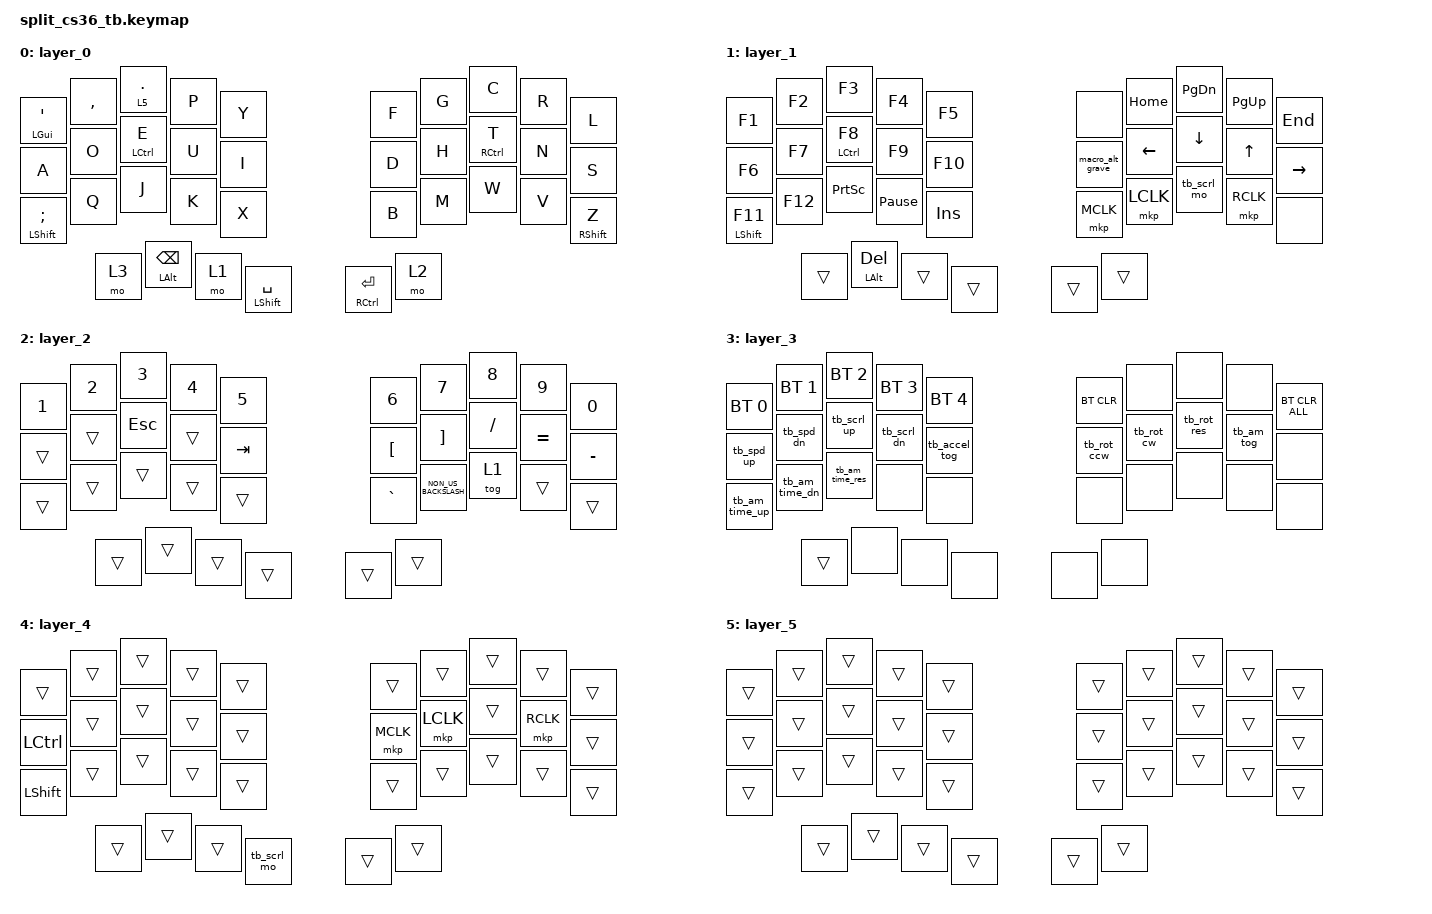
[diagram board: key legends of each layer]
#include <behaviors.dtsi>
#include <dt-bindings/zmk/bt.h>
#include <dt-bindings/zmk/keys.h>
#include <dt-bindings/zmk/pointing.h>
#include <dt-bindings/zmk/trackball.h>

#define TB_SPD_UP       1
#define TB_SPD_DN       2
#define TB_AM_TOG       3
#define TB_SCRL_TOG     4
#define TB_SCRL_MO      4
#define TB_SCRL_UP      5
#define TB_SCRL_DN      6
#define TB_ACCEL_TOG    7
#define TB_ROT_CW       8
#define TB_ROT_CCW      9
#define TB_ROT_RES      10
#define TB_AM_TIME_UP   11
#define TB_AM_TIME_DN   12
#define TB_AM_TIME_RES  13

/ {

    behaviors {
        tb: behavior_trackball {
            compatible = "zmk,behavior-trackball";
            #binding-cells = <1>;
            label = "TRACKBALL";
            bindings = <&none>;
        };

        // デフォルトのMod-Tap(&mt)の挙動を上書きし、QMK風の快適な設定に変更します

        mt: mod_tap {
            compatible = "zmk,behavior-hold-tap";
            #binding-cells = <2>;

            // --- ここからがカスタマイズ項目です ---
            // タップとホールドを認識する時間。200msに設定。

            tapping-term-ms = <200>;

            // 'tap-preferred'フレーバーを選択。
            // これにより、高速でキーを連続入力（ローリング）した際に、
            // ホールド（モディファイア）が誤爆するのを防ぎます。
            // QMKの`IGNORE_MOD_TAP_INTERRUPT`に近い挙動です。

            flavor = "tap-preferred";

            // (オプション) この時間内の素早い連続タップは、強制的にタップとして扱います。
            // これにより、スペースキーやエンターキーの連続タップがより確実になります。

            quick-tap-ms = <150>;

            // --- ここまでがカスタマイズ項目です ---

            bindings = <&kp>, <&kp>;
        };
    };

    combos {
        compatible = "zmk,combos";

        right_click {
            bindings = <&mkp RCLK>;
            key-positions = <12 11>;
        };

        left_click {
            bindings = <&mkp LCLK>;
            key-positions = <12 13>;
        };
    };

    macros {
        macro_alt_grave: macro_alt_grave {
            compatible = "zmk,behavior-macro";
            #binding-cells = <0>;
            bindings =
                <&macro_press>,
                <&kp LALT>,
                <&macro_tap>,
                <&kp GRAVE>,
                <&macro_release>,
                <&kp LALT>;

            label = "MACRO_ALT_GRAVE";
            wait-ms = <5>;
            tap-ms = <5>;
        };

        tb_scrl_mo: tb_scrl_mo {
            compatible = "zmk,behavior-macro";
            #binding-cells = <0>;
            bindings =
                <&macro_press &tb TB_SCRL_MO>,
                <&macro_pause_for_release>,
                <&macro_release &tb TB_SCRL_MO>;
            label = "TB_SCRL_MO";
        };

        tb_spd_up: tb_spd_up {
            compatible = "zmk,behavior-macro";
            #binding-cells = <0>;
            bindings = <&tb TB_SPD_UP>;
            label = "TB_SPD_UP";
        };

        tb_spd_dn: tb_spd_dn {
            compatible = "zmk,behavior-macro";
            #binding-cells = <0>;
            bindings = <&tb TB_SPD_DN>;
            label = "TB_SPD_DN";
        };

        tb_am_tog: tb_am_tog {
            compatible = "zmk,behavior-macro";
            #binding-cells = <0>;
            bindings = <&tb TB_AM_TOG>;
            label = "TB_AM_TOG";
        };

        tb_scrl_up: tb_scrl_up {
            compatible = "zmk,behavior-macro";
            #binding-cells = <0>;
            bindings = <&tb TB_SCRL_UP>;
            label = "TB_SCRL_UP";
        };

        tb_scrl_dn: tb_scrl_dn {
            compatible = "zmk,behavior-macro";
            #binding-cells = <0>;
            bindings = <&tb TB_SCRL_DN>;
            label = "TB_SCRL_DN";
        };

        tb_accel_tog: tb_accel_tog {
            compatible = "zmk,behavior-macro";
            #binding-cells = <0>;
            bindings = <&tb TB_ACCEL_TOG>;
            label = "TB_ACCEL_TOG";
        };

        tb_rot_cw: tb_rot_cw {
            compatible = "zmk,behavior-macro";
            #binding-cells = <0>;
            bindings = <&tb TB_ROT_CW>;
            label = "TB_ROT_CW";
        };

        tb_rot_ccw: tb_rot_ccw {
            compatible = "zmk,behavior-macro";
            #binding-cells = <0>;
            bindings = <&tb TB_ROT_CCW>;
            label = "TB_ROT_CCW";
        };

        tb_rot_res: tb_rot_res {
            compatible = "zmk,behavior-macro";
            #binding-cells = <0>;
            bindings = <&tb TB_ROT_RES>;
            label = "TB_ROT_RES";
        };

        tb_am_time_up: tb_am_time_up {
            compatible = "zmk,behavior-macro";
            #binding-cells = <0>;
            bindings = <&tb TB_AM_TIME_UP>;
            label = "TB_AM_TIME_UP";
        };

        tb_am_time_dn: tb_am_time_dn {
            compatible = "zmk,behavior-macro";
            #binding-cells = <0>;
            bindings = <&tb TB_AM_TIME_DN>;
            label = "TB_AM_TIME_DN";
        };

        tb_am_time_res: tb_am_time_res {
            compatible = "zmk,behavior-macro";
            #binding-cells = <0>;
            bindings = <&tb TB_AM_TIME_RES>;
            label = "TB_AM_TIME_RES";
        };
    };

    keymap {
        compatible = "zmk,keymap";

        layer_0 {
            bindings = <
&mt LGUI SQT              &kp COMMA  &lt 5 PERIOD            &kp P  &kp Y                 &kp F            &kp G  &kp C        &kp R  &kp L
&kp A                     &kp O      &mt LCTRL E             &kp U  &kp I                 &kp D            &kp H  &mt RCTRL T  &kp N  &kp S
&mt LEFT_SHIFT SEMICOLON  &kp Q      &kp J                   &kp K  &kp X                 &kp B            &kp M  &kp W        &kp V  &mt RIGHT_SHIFT Z
                          &mo 3      &mt LEFT_ALT BACKSPACE  &mo 1  &mt LEFT_SHIFT SPACE  &mt RCTRL ENTER  &mo 2
            >;
        };

        layer_1 {
            bindings = <
&kp F1              &kp F2   &kp F3               &kp F4           &kp F5      &none             &kp HOME   &kp PAGE_DOWN  &kp PG_UP  &kp END
&kp F6              &kp F7   &mt LCTRL F8         &kp F9           &kp F10     &macro_alt_grave  &kp LEFT   &kp DOWN       &kp UP     &kp RIGHT
&mt LEFT_SHIFT F11  &kp F12  &kp PRINTSCREEN      &kp PAUSE_BREAK  &kp INSERT  &mkp MCLK         &mkp LCLK  &tb_scrl_mo    &mkp RCLK  &none
                    &trans   &mt LEFT_ALT DELETE  &trans           &trans      &trans            &trans
            >;
        };

        layer_2 {
            bindings = <
&kp NUMBER_1  &kp NUMBER_2  &kp NUMBER_3  &kp NUMBER_4  &kp NUMBER_5  &kp NUMBER_6      &kp NUMBER_7          &kp NUMBER_8  &kp NUMBER_9  &kp NUMBER_0
&trans        &trans        &kp ESCAPE    &trans        &kp TAB       &kp LEFT_BRACKET  &kp RIGHT_BRACKET     &kp SLASH     &kp EQUAL     &kp MINUS
&trans        &trans        &trans        &trans        &trans        &kp GRAVE         &kp NON_US_BACKSLASH  &tog 1        &trans        &trans
              &trans        &trans        &trans        &trans        &trans            &trans
            >;
        };

        layer_3 {
            bindings = <
&bt BT_SEL 0    &bt BT_SEL 1    &bt BT_SEL 2       &bt BT_SEL 3    &bt BT_SEL 4      &bt BT_CLR      &none       &none       &none       &bt BT_CLR_ALL
&tb_spd_up      &tb_spd_dn      &tb_scrl_up        &tb_scrl_dn     &tb_accel_tog     &tb_rot_ccw     &tb_rot_cw  &tb_rot_res &tb_am_tog  &none
&tb_am_time_up  &tb_am_time_dn  &tb_am_time_res    &none           &none             &none           &none       &none       &none       &none
                &trans          &none              &none           &none             &none           &none
            >;
        };

        layer_4 {
            bindings = <
&trans      &trans  &trans  &trans  &trans  &trans     &trans     &trans     &trans     &trans
&kp LCTRL   &trans  &trans  &trans  &trans  &mkp MCLK  &mkp LCLK  &trans     &mkp RCLK  &trans
&kp LSHIFT  &trans  &trans  &trans  &trans  &trans     &trans     &trans     &trans     &trans
                    &trans  &trans  &trans  &tb_scrl_mo &trans &trans
            >;
        };

        layer_5 {
            bindings = <
&trans  &trans  &trans  &trans  &trans  &trans  &trans  &trans  &trans  &trans
&trans  &trans  &trans  &trans  &trans  &trans  &trans  &trans  &trans  &trans
&trans  &trans  &trans  &trans  &trans  &trans  &trans  &trans  &trans  &trans
        &trans  &trans  &trans  &trans  &trans  &trans
            >;
        };
    };
};
